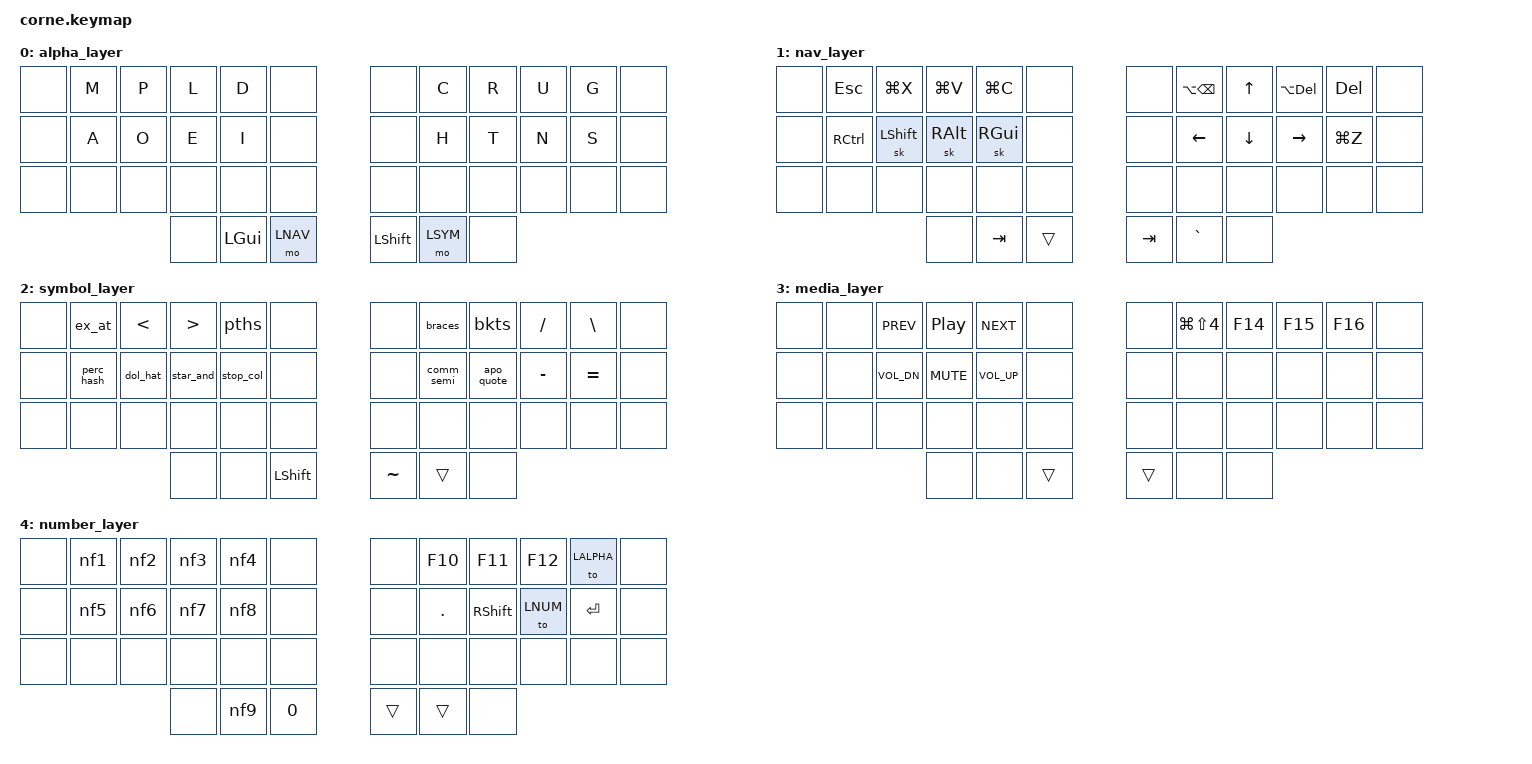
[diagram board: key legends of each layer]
/*
 * Copyright (c) 2020 The ZMK Contributors
 *
 * SPDX-License-Identifier: MIT
 */

#include <behaviors.dtsi>
#include <dt-bindings/zmk/keys.h>
#include <dt-bindings/zmk/bt.h>

#define LALPHA 0
#define LNAV 1
#define LSYM 2
#define LM 3
#define LNUM 4

&mt {
    flavor = "tap-preferred";
    tapping-term-ms = <250>;
};

/ {
    combos {
        compatible = "zmk,combos";
        combo_COMMA {
            timeout-ms = <50>;
            key-positions = <3 4>;
            bindings = <&kp COMMA>;
        };
	combo_PERIOD {
            timeout-ms = <50>;
            key-positions = <7 8>;
            bindings = <&kp PERIOD>;
        };
	combo_backspace {
            timeout-ms = <75>;
            key-positions = <15 16>;
            bindings = <&kp BACKSPACE>;
        };
	combo_space {
            timeout-ms = <75>;
            key-positions = <19 20>;
            bindings = <&kp SPACE>;
        };
	combo_ret {
            timeout-ms = <50>;
            key-positions = <1 2>;
	    layers = <0>;
            bindings = <&kp ENTER>;
        };
	combo_q2 {
            timeout-ms = <50>;
            key-positions = <1 2 3>;
	    layers = <0>;
            bindings = <&kp Q>;
        };
	combo_change_window {
            timeout-ms = <50>;
            key-positions = <2 3>;
	    layers = <0>;
            bindings = <&kp LG(TILDE)>;
        };
	combo_change_app {
            timeout-ms = <50>;
            key-positions = <14 15>;
	    layers = <0>;
            bindings = <&kp LG(TAB)>;
        };
	combo_x {
            timeout-ms = <50>;
            key-positions = <1 13>;
	    layers = <0>;
            bindings = <&kp X>;
        };
	combo_b {
            timeout-ms = <50>;
            key-positions = <2 14>;
	    layers = <0>;
            bindings = <&kp B>;
        };
	combo_y {
            timeout-ms = <50>;
            key-positions = <4 16>;
	    layers = <0>;
            bindings = <&kp Y>;
        };
	combo_k {
            timeout-ms = <50>;
            key-positions = <3 15>;
	    layers = <0>;
            bindings = <&kp K>;
        };
	combo_ret2 {
            timeout-ms = <50>;
            key-positions = <9 10>;
	    layers = <0>;
            bindings = <&kp ENTER>;
        };
	combo_j2 {
            timeout-ms = <50>;
            key-positions = <8 9 10>;
	    layers = <0>;
            bindings = <&kp J>;
        };
	combo_f {
            timeout-ms = <50>;
            key-positions = <7 19>;
	    layers = <0>;
            bindings = <&kp F>;
        };
	combo_w {
            timeout-ms = <50>;
            key-positions = <8 20>;
	    layers = <0>;
            bindings = <&kp W>;
        };
	combo_v {
            timeout-ms = <50>;
            key-positions = <9 21>;
	    layers = <0>;
            bindings = <&kp V>;
        };
	combo_z {
            timeout-ms = <50>;
            key-positions = <10 22>;
	    layers = <0>;
            bindings = <&kp Z>;
        };
	combo_wh {
            timeout-ms = <50>;
            key-positions = <8 19 20>;
	    layers = <0>;
            bindings = <&kp W &kp H>;
        };
	combo_tab {
            timeout-ms = <50>;
            key-positions = <37 38>;
	    layers = <0>;
            bindings = <&kp TAB>;
        };
	combo_tab2 {
            timeout-ms = <50>;
            key-positions = <13 14>;
	    layers = <0>;
            bindings = <&kp TAB>;
        };
	combo_tilde {
            timeout-ms = <50>;
            key-positions = <21 22>;
	    layers = <0>;
            bindings = <&kp GRAVE>;
        };
	combo_layer_media {
            timeout-ms = <50>;
            key-positions = <38 39>;
	    layers = <0>;
            bindings = <&mo LM>;
        };
	combo_layer_num {
            timeout-ms = <50>;
            key-positions = <39 40>;
	    layers = <0>;
            bindings = <&mo LNUM>;
        };
	combo_layer_num2 {
            timeout-ms = <50>;
            key-positions = <8 9>;
	    layers = <0>;
            bindings = <&mo LNUM>;
        };
    };
    
    macros {
        pths: parentheses {
            label = "Double parentheses";
            compatible = "zmk,behavior-macro";
            #binding-cells = <0>;
	    wait-ms = <40>;
	    tap-ms = <40>;
            bindings
                = <&kp LPAR &kp RPAR>
                , <&kp LEFT>
                ;
        };
	braces: braces {
            label = "Double braces";
            compatible = "zmk,behavior-macro";
            #binding-cells = <0>;
	    wait-ms = <40>;
	    tap-ms = <40>;
            bindings
                = <&kp LBRC &kp RBRC>
                , <&kp LEFT>
                ;
        };
	bkts: brackets {
            label = "Double brackets";
            compatible = "zmk,behavior-macro";
            #binding-cells = <0>;
	    wait-ms = <40>;
	    tap-ms = <40>;
            bindings
                = <&kp LBKT &kp RBKT &kp LEFT>
                ;
        };
    };

        behaviors {
	ex_at: exclamation_shift_at {
            compatible = "zmk,behavior-mod-morph";
            label = "EXCLAMATION_SHIFT_AT";
            #binding-cells = <0>;
            bindings = <&kp EXCLAMATION>, <&kp AT>;
	    mods = <(MOD_LSFT)>;
        };
        perc_hash: percent_shift_hash {
            compatible = "zmk,behavior-mod-morph";
            label = "PERCENT_SHIFT_HASH";
            #binding-cells = <0>;
            bindings = <&kp PERCENT>, <&kp HASH>;
	    mods = <(MOD_LSFT)>;
        };
	dol_hat: dollar_shift_hat {
            compatible = "zmk,behavior-mod-morph";
            label = "DOLLAR_SHIFT_HAT";
            #binding-cells = <0>;
            bindings = <&kp DOLLAR>, <&kp CARET>;
	    mods = <(MOD_LSFT)>;
        };
	stop_col: stop_shift_colon {
            compatible = "zmk,behavior-mod-morph";
            label = "STOP_SHIFT_COLON";
            #binding-cells = <0>;
            bindings = <&kp PERIOD>, <&kp COLON>;
	    mods = <(MOD_LSFT)>;
        };
	comm_semi: comma_shift_semicolon {
            compatible = "zmk,behavior-mod-morph";
            label = "COMMA_SHIFT_SEMICOLON";
            #binding-cells = <0>;
            bindings = <&kp COMMA>, <&kp SEMICOLON>;
	    mods = <(MOD_LSFT)>;
        };
	apo_quote: apostrophe_shift_quotes {
            compatible = "zmk,behavior-mod-morph";
            label = "APOSTROPHE_SHIFT_QUOTES";
            #binding-cells = <0>;
            bindings = <&kp APOSTROPHE>, <&kp DOUBLE_QUOTES>;
	    mods = <(MOD_LSFT)>;
        };
	star_and: star_shift_ampersand {
            compatible = "zmk,behavior-mod-morph";
            label = "STAR_SHIFT_AMPERSAND";
            #binding-cells = <0>;
            bindings = <&kp ASTERISK>, <&kp AMPERSAND>;
	    mods = <(MOD_LSFT)>;
        };
	nf1: number_f1 {
            compatible = "zmk,behavior-mod-morph";
            label = "NUMBER_F1";
            #binding-cells = <0>;
            bindings = <&kp N1>, <&kp F1>;
	    mods = <(MOD_RSFT)>;
        };
	nf2: number_f2 {
            compatible = "zmk,behavior-mod-morph";
            label = "NUMBER_F2";
            #binding-cells = <0>;
            bindings = <&kp N2>, <&kp F2>;
	    mods = <(MOD_RSFT)>;
        };
	nf3: number_f3 {
            compatible = "zmk,behavior-mod-morph";
            label = "NUMBER_F3";
            #binding-cells = <0>;
            bindings = <&kp N3>, <&kp F3>;
	    mods = <(MOD_RSFT)>;
        };
	nf4: number_f4 {
            compatible = "zmk,behavior-mod-morph";
            label = "NUMBER_F4";
            #binding-cells = <0>;
            bindings = <&kp N4>, <&kp F4>;
	    mods = <(MOD_RSFT)>;
        };
	nf5: number_f5 {
            compatible = "zmk,behavior-mod-morph";
            label = "NUMBER_F5";
            #binding-cells = <0>;
            bindings = <&kp N5>, <&kp F5>;
	    mods = <(MOD_RSFT)>;
        };
	nf6: number_f6 {
            compatible = "zmk,behavior-mod-morph";
            label = "NUMBER_F6";
            #binding-cells = <0>;
            bindings = <&kp N6>, <&kp F6>;
	    mods = <(MOD_RSFT)>;
        };
	nf7: number_f7 {
            compatible = "zmk,behavior-mod-morph";
            label = "NUMBER_F7";
            #binding-cells = <0>;
            bindings = <&kp N7>, <&kp F7>;
	    mods = <(MOD_RSFT)>;
        };
	nf8: number_f8 {
            compatible = "zmk,behavior-mod-morph";
            label = "NUMBER_F8";
            #binding-cells = <0>;
            bindings = <&kp N8>, <&kp F8>;
	    mods = <(MOD_RSFT)>;
        };
	nf9: number_f9 {
            compatible = "zmk,behavior-mod-morph";
            label = "NUMBER_F9";
            #binding-cells = <0>;
            bindings = <&kp N9>, <&kp F9>;
	    mods = <(MOD_RSFT)>;
        };
    };

    keymap {
                compatible = "zmk,keymap";

                alpha_layer {
                bindings = <
   &none	&kp M		&kp P    	&kp L         	&kp D		&none	         	&none    	&kp C		&kp R         	&kp U		&kp G		&none
   &none	&kp A    	&kp O    	&kp E	 	&kp I		&none   	 	&none		&kp H		&kp T		&kp N		&kp S		&none
   &none	&none	 	&none 		&none 		&none	 	&none   	 	&none	 	&none  		&none		&none		&none		&none
                  				&none	 	&kp LGUI 	&mo LNAV		&kp LSHIFT	&mo LSYM 	&none
                	>;
                };

                nav_layer {
                bindings = <
   &none	&kp ESC		&kp LG(X)	&kp LG(V)    	&kp LG(C)	&none	         	&none    	&kp LA(BSPC)	&kp UP         	&kp LA(DEL)	&kp DEL		&none
   &none	&kp RCTRL    	&sk LSHIFT    	&sk RALT 	&sk RGUI	&none   	 	&none		&kp LEFT	&kp DOWN	&kp RIGHT	&kp LG(Z)	&none
   &none	&none	 	&none 		&none 		&none	 	&none   	 	&none	 	&none  		&none		&none		&none		&none
                  				&none	 	&kp TAB	 	&trans			&kp TAB		&kp GRAVE 	&none
                	>;
                };
                symbol_layer {
                bindings = <
   &none	&ex_at		&kp LT    	&kp GT      	&pths		&none	         	&none    	&braces		&bkts      	&kp SLASH	&kp BACKSLASH	&none
   &none	&perc_hash    	&dol_hat    	&star_and 	&stop_col	&none   	 	&none		&comm_semi	&apo_quote	&kp MINUS	&kp EQUAL	&none
   &none	&none	 	&none 		&none 		&none	 	&none   	 	&none	 	&none  		&none		&none		&none		&none
                  				&none	 	&none	 	&kp LSHIFT		&kp TILDE	&trans	 	&none
                	>;
                };
                media_layer {
                bindings = <
   &none	&none		&kp C_PREV    	&kp C_PP       	&kp C_NEXT	&none	         	&none    	&kp LG(LS(N4))	&kp F14        	&kp F15		&kp F16		&none
   &none	&none    	&kp C_VOL_DN   	&kp K_MUTE 	&kp C_VOL_UP	&none   	 	&none		&none		&none		&none		&none		&none
   &none	&none	 	&none 		&none 		&none	 	&none   	 	&none	 	&none  		&none		&none		&none		&none
                  				&none	 	&none	 	&trans			&trans		&none	 	&none
                	>;
                };
                number_layer {
                bindings = <
   &none	&nf1		&nf2	    	&nf3         	&nf4		&none	         	&none    	&kp F10		&kp F11        	&kp F12		&to LALPHA	&none
   &none	&nf5	    	&nf6	    	&nf7	 	&nf8		&none   	 	&none		&kp PERIOD	&kp RSHIFT	&to LNUM	&kp ENTER	&none
   &none	&none	 	&none 		&none 		&none	 	&none   	 	&none	 	&none  		&none		&none		&none		&none
                  				&none	 	&nf9	 	&kp N0			&trans		&trans	 	&none
                	>;
                };
        };
};
